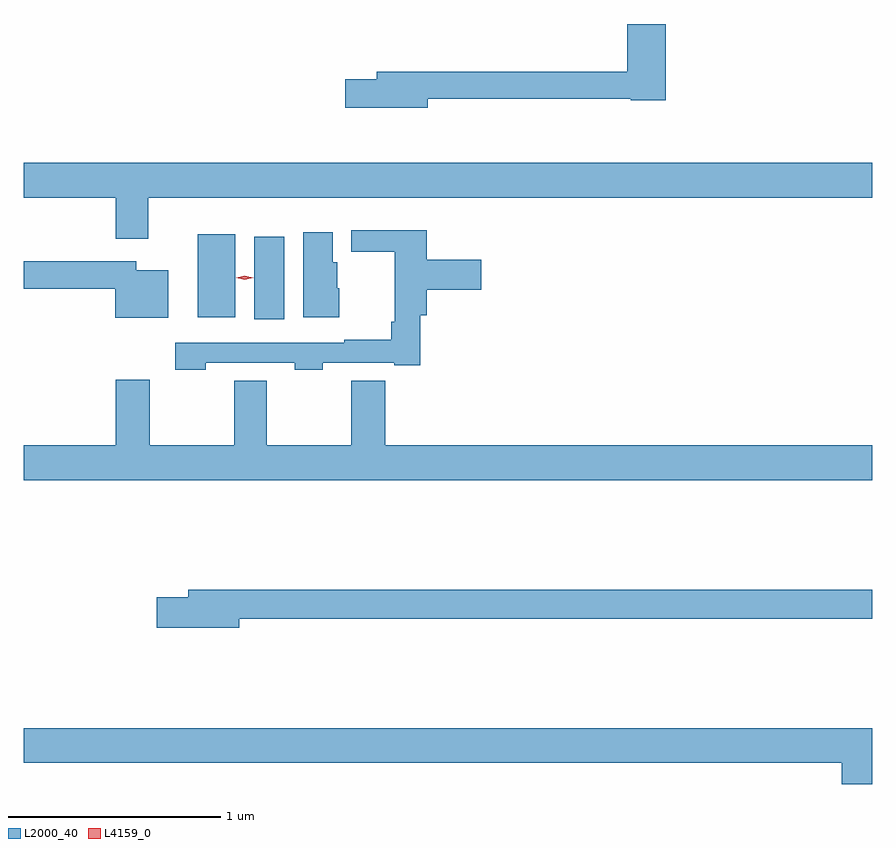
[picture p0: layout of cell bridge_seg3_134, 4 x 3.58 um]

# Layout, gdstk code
import gdstk
lib = gdstk.Library(unit=1e-6, precision=1e-09)
def R(c, l, rs):  # rectangles x0, y0, x1, y1
    for r in rs: c.add(gdstk.rectangle(r[:2], r[2:], *l))
def P(c, l, *ps):  # polygons
    for p in ps: c.add(gdstk.Polygon(p, *l))
L2000_40 = (2000, 40)
L4159_0 = (4159, 0)

bridge_seg3_134 = lib.new_cell('bridge_seg3_134')
R(bridge_seg3_134, L2000_40, [(220.184,680.364,220.327,680.752), (219.92,680.372,220.096,680.764)])
P(bridge_seg3_134, L2000_40, [(221.002,681.402),(221.958,681.402),(221.958,681.394),(222.125,681.394),(222.125,681.754),(221.942,681.754),(221.942,681.53),(220.763,681.53),(220.763,681.494),(220.614,681.494),(220.614,681.359),(221.002,681.359)],
  [(219.685,680.936),(223.098,680.936),(223.098,681.1),(219.098,681.1),(219.098,680.936),(219.533,680.936),(219.533,680.742),(219.685,680.742)],
  [(219.957,680.157),(220.377,680.157),(220.377,680.125),(220.509,680.125),(220.509,680.157),(220.844,680.157),(220.844,680.145),(220.967,680.145),(220.967,680.381),(220.997,680.381),(220.997,680.501),(221.254,680.501),(221.254,680.643),(220.997,680.643),(220.997,680.782),(220.641,680.782),(220.641,680.68),(220.846,680.68),(220.846,680.35),(220.831,680.35),(220.831,680.266),(220.609,680.266),(220.609,680.253),(219.813,680.253),(219.813,680.125),(219.957,680.125)],
  [(220.585,680.508),(220.576,680.508),(220.576,680.631),(220.555,680.631),(220.555,680.773),(220.415,680.773),(220.415,680.372),(220.585,680.372)],
  [(219.781,680.593),(219.628,680.593),(219.628,680.635),(219.098,680.635),(219.098,680.506),(219.53,680.506),(219.53,680.369),(219.781,680.369)],
  [(223.098,679.768),(220.802,679.768),(220.802,680.072),(220.642,680.072),(220.642,679.768),(220.244,679.768),(220.244,680.072),(220.09,680.072),(220.09,679.768),(219.693,679.768),(219.693,680.077),(219.533,680.077),(219.533,679.768),(219.098,679.768),(219.098,679.604),(223.098,679.604)],
  [(220.114,678.952),(223.098,678.952),(223.098,679.088),(219.875,679.088),(219.875,679.052),(219.726,679.052),(219.726,678.91),(220.114,678.91)],
  [(223.098,678.436),(219.098,678.436),(219.098,678.272),(222.953,678.272),(222.953,678.173),(223.098,678.173)])
P(bridge_seg3_134, L4159_0, [(220.141,680.548),(220.1,680.558),(220.1,680.559),(220.1,680.559),(220.141,680.568),(220.181,680.558),(220.181,680.558),(220.181,680.558)])

lib.write_gds('bridge_seg3_134.gds')
